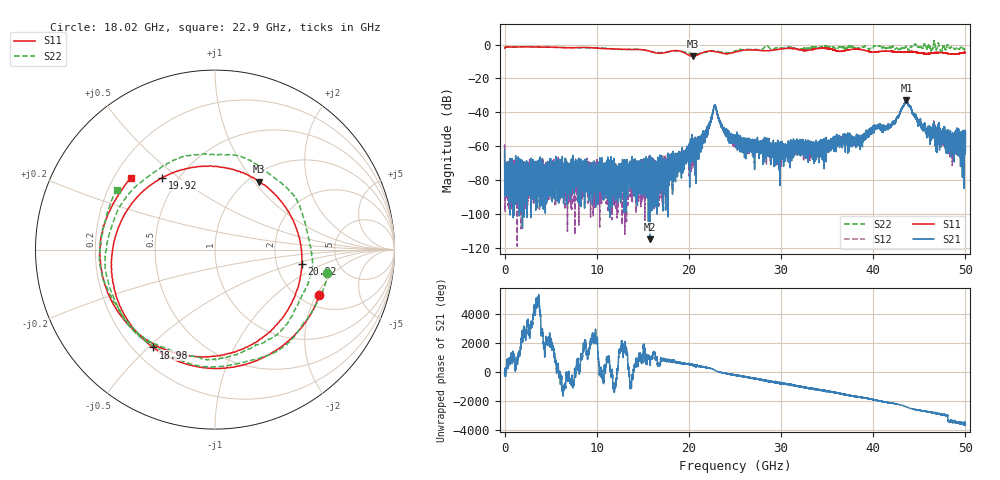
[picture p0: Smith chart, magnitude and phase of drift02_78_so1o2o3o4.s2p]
!Created with skrf (http://scikit-rf.org).
# Hz S RI R 50.0
!freq ReS11 ImS11 ReS21 ImS21 ReS12 ImS12 ReS22 ImS22
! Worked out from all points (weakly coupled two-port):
!   10001 points, 300 kHz to 50 GHz, reference 50 ohm
!   highest |S21| = -32.97 dB at 43.61 GHz (marker M1); lowest = -115.0 dB at 15.76 GHz (marker M2)
!   lowest |S11| = -6.9 dB at 20.42 GHz (marker M3), VSWR 2.64, Z = 55.7 + j52.9 ohm
!   |S11| at or under -10 dB: nowhere
!   |S22| runs from -5.7 to 2.4 dB; largest |S21 - S12| = 0.0036
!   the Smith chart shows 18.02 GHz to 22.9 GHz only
!   S11 on the Smith chart (normalised r, x): 18.02 GHz: 2.49, -2.12; 18.98 GHz: 0.28, -0.52; 19.92 GHz: 0.41, +0.44; 20.92 GHz: 2.77, -0.59; 22.9 GHz: 0.27, +0.34
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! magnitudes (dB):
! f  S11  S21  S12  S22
! 300 kHz  -2.1  -62.0  -58.9  -2.1
! 255.3 MHz  -1.4  -78.0  -76.8  -1.4
! 640.3 MHz  -1.5  -78.7  -80.0  -1.5
! 8.335 GHz  -1.7  -77.3  -79.7  -1.9
! 15.76 GHz  -4.0  -115.0  -74.8  -3.9
! 16.67 GHz  -5.2  -72.8  -70.7  -4.7
! 18.02 GHz  -3.9  -71.3  -71.4  -3.9
! 18.98 GHz  -3.8  -68.5  -65.3  -3.9
! 19.92 GHz  -6.1  -64.9  -64.4  -5.2
! 20.42 GHz  -6.9  -69.2  -58.9  -5.4
! 20.92 GHz  -6.2  -59.1  -60.4  -5.6
! 22.9 GHz  -4.2  -36.9  -36.7  -3.9
! 23.73 GHz  -5.2  -49.7  -49.8  -4.6
! 25 GHz  -4.5  -56.9  -53.9  -3.9
! 29.78 GHz  -2.8  -60.1  -62.0  -2.0
! 33.34 GHz  -3.0  -64.9  -61.7  -1.5
! 38.23 GHz  -2.8  -55.3  -56.6  -2.5
! 41.67 GHz  -4.0  -47.8  -48.1  -1.9
! 43.61 GHz  -4.3  -33.0  -33.3  -1.4
! 45.91 GHz  -5.4  -49.9  -51.4  -1.8
! 48.53 GHz  -5.6  -52.8  -55.9  -1.7
! 50 GHz  -4.7  -57.3  -57.0  -2.6
